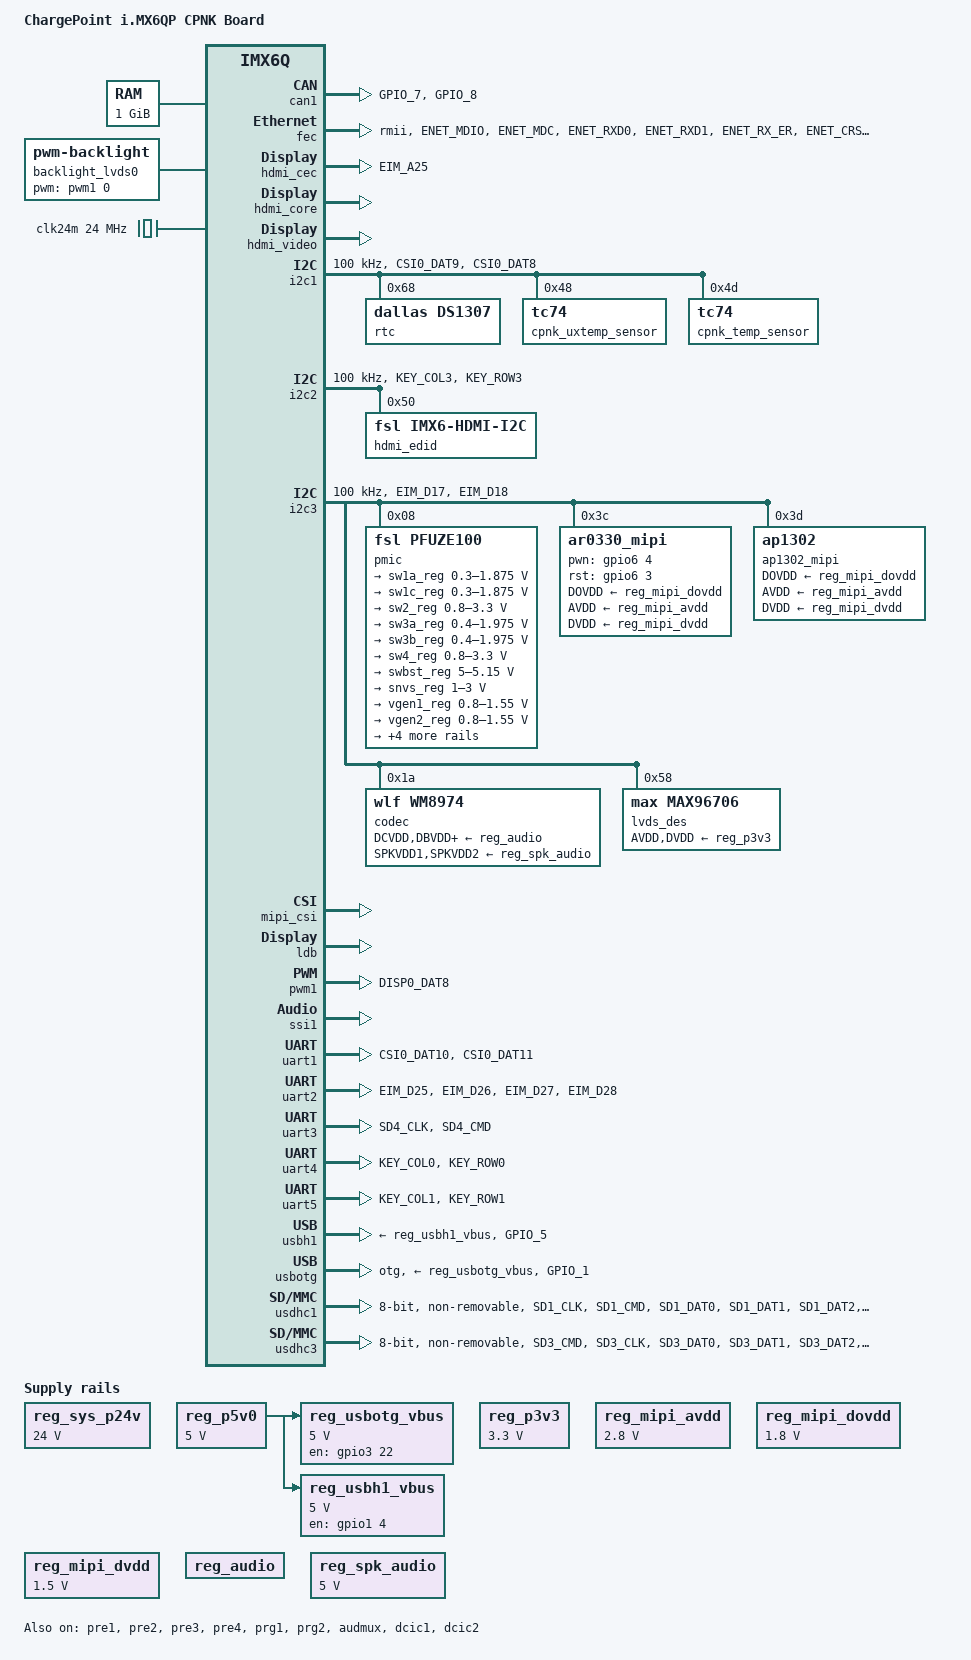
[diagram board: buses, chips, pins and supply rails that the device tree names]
/*
 * Copyright 2020 ChargePoint, Inc.
 * Copyright 2013 Boundary Devices
 * Copyright 2012 Freescale Semiconductor, Inc.
 * Copyright 2011 Linaro Ltd.
 *
 * The code contained herein is licensed under the GNU General Public
 * License. You may obtain a copy of the GNU General Public License
 * Version 2 or later at the following locations:
 *
 * http://www.opensource.org/licenses/gpl-license.html
 * http://www.gnu.org/copyleft/gpl.html
 */
/*
 * XXX - THIS NEEDS TO BE AUDITED - XXX
 *
 * At the time of this comment, this device-tree was changed to just
 * make a boot happen
 */


/dts-v1/;

#include <dt-bindings/gpio/gpio.h>
#include <dt-bindings/input/input.h>
#include "imx6q.dtsi"
#include "imx6qp.dtsi"

#if defined(CONFIG_NOT_UUU_BUILD)
#include "chargepoint-pubkey.dtsi"
#endif

/ {
	model = "ChargePoint i.MX6QP CPNK Board";
	compatible = "fsl,imx6qp-chargepoint-cpnk", "fsl,imx6q";

	aliases {
		fb_hdmi = &fb_hdmi;
		fb_lvds = &fb_lvds;
		ldb = &ldb;
		mmc0 = &usdhc3;
		mxcfb0 = &fb_lvds;
		mxcfb1 = &fb_hdmi;
	};

	chosen {
		stdout-path = &uart1;
	};

	memory: memory {
		reg = <0x10000000 0x40000000>;
	};

	backlight_lvds0 {
		compatible = "pwm-backlight";
		pinctrl-names = "default";
		brightness-levels = <0 1 2 3 4 5 6 7 8 9 10 11 12 13 14 15 16 17 18 19 20 21 22 23 24 25 26 27 28 29 30 \
			      31 32 33 34 35 36 37 38 39 40 41 42 43 44 45 46 47 48 49 50 51 52 53 54 55 56 57 58 59 60 \
			      61 62 63 64 65 66 67 68 69 70 71 72 73 74 75 76 77 78 79 80 81 82 83 84 85 86 87 88 89 80 \
			      91 92 93 94 95 96 97 98 99 100>;
		default-brightness-level = <100>;
		display = <&fb_lvds>;
		pwms = <&pwm1 0 5000000>;
		status = "okay";
	};

	clocks {
		clk24m: clk24m {
			compatible = "fixed-clock";
			#clock-cells = <0>;
			clock-frequency = <24000000>;
		};
	};

	sound {
		compatible = "fsl,imx6q-sabresd-wm8974",
		"fsl,imx-audio-wm8974";
		model = "wm8974-audio";
		cpu-dai = <&ssi1>;
		audio-codec = <&codec>;
		audio-routing =
			  "Ext Spk", "MONOOUT",
			  "Mic Jack", "Mic Bias",
			  "Headphone Jack", "MONOOUT";
		mux-int-port = <1>;
		mux-ext-port = <4>;
		status = "okay";
	};

	sound-hdmi {
		compatible = "fsl,imx6q-audio-hdmi",
			     "fsl,imx-audio-hdmi";
		model = "imx-audio-hdmi";
		hdmi-controller = <&hdmi_audio>;
	};

	fb_lvds: fb@0 {
		compatible = "fsl,mxc_sdc_fb";
		disp_dev = "ldb";
		interface_pix_fmt = "RGB24";
		default_bpp = <32>;
		int_clk = <0>;
		late_init = <0>;
		status = "disabled";
	};

	fb_hdmi: fb@1 {
		compatible = "fsl,mxc_sdc_fb";
		disp_dev = "hdmi";
		interface_pix_fmt = "RGB24";
		mode_str ="1920x1080M@60";
		default_bpp = <32>;
		int_clk = <0>;
		late_init = <0>;
		status = "disabled";
	};

	regulators {
		compatible = "simple-bus";
		#address-cells = <1>;
		#size-cells = <0>;

		reg_sys_p24v: regulator-system-p24v {
			compatible = "regulator-fixed";
			regulator-name = "P24V";
			regulator-min-microvolt = <24000000>;
			regulator-max-microvolt = <24000000>;
			regulator-always-on;
		};

		reg_p5v0: regulator-p5v0 {
			compatible = "regulator-fixed";
			regulator-name = "P5V0";
			regulator-min-microvolt = <5000000>;
			regulator-max-microvolt = <5000000>;
			regulator-always-on;
		};

		reg_p3v3: regulator-p3v3 {
			compatible = "regulator-fixed";
			regulator-name = "P3V3";
			regulator-min-microvolt = <3300000>;
			regulator-max-microvolt = <3300000>;
			regulator-always-on;
		};

		reg_usbotg_vbus: regulator-usbotg-vbus {
			compatible = "regulator-fixed";
			regulator-name = "usb_otg_vbus";
			regulator-min-microvolt = <5000000>;
			regulator-max-microvolt = <5000000>;
			gpio = <&gpio3 22 GPIO_ACTIVE_HIGH>;
			enable-active-high;
			regulator-always-on;
			vin-supply = <&reg_p5v0>;
		};

		reg_usbh1_vbus: regulator-usbh1-vbus {
			compatible = "regulator-fixed";
			pinctrl-names = "default";
			pinctrl-0 = <&pinctrl_reg_usbh1_vbus>;
			regulator-name = "usb_h1_vbus";
			regulator-min-microvolt = <5000000>;
			regulator-max-microvolt = <5000000>;
			gpio = <&gpio1 4 GPIO_ACTIVE_HIGH>;
			enable-active-high;
			regulator-always-on;
			vin-supply = <&reg_p5v0>;
		};

		reg_mipi_avdd: regulator-mipi-avdd {
			 compatible = "regulator-fixed";
			 regulator-name = "mipi_avdd";
			 regulator-min-microvolt = <2800000>;
			 regulator-max-microvolt = <2800000>;
			 regulator-always-on;
		};

		reg_mipi_dovdd: regulator-mipi-dovdd {
			 compatible = "regulator-fixed";
			 regulator-name = "mipi_dovdd";
			 regulator-min-microvolt = <1800000>;
			 regulator-max-microvolt = <1800000>;
			 regulator-always-on;
		};

		reg_mipi_dvdd: regulator-mipi-dvdd {
			 compatible = "regulator-fixed";
			 regulator-name = "mipi_dvdd";
			 regulator-min-microvolt = <1500000>;
			 regulator-max-microvolt = <1500000>;
			 regulator-always-on;
		};

		reg_audio: regulator-audio {
			compatible = "regulator-fixed";
			regulator-name = "wm8974-supply";
			regulator-always-on;
		};
		reg_spk_audio: regulator-speaker-audio {
			compatible = "regulator-fixed";
			regulator-name = "wm8974-spk-supply";
			regulator-min-microvolt = <5000000>;
			regulator-max-microvolt = <5000000>;
			/*gpio = <&gpio4 25 0>;*/
			enable-active-high;
			regulator-always-on;
		};
	};

	v4l2_cap_0 {
		compatible = "fsl,imx6q-v4l2-capture";
		ipu_id = <0>;
		csi_id = <0>;
		mclk_source = <0>;
		status = "okay";
	};

	v4l2_cap_1: v4l2_cap_1 {
		compatible = "fsl,imx6q-v4l2-capture";
		ipu_id = <0>;
		csi_id = <1>;
		mipi_camera = <1>;
		mclk_source = <0>;
		status = "okay";
	};

	v4l2_cap_2: v4l2_cap_2 {
		compatible = "fsl,imx6q-v4l2-capture";
		ipu_id = <1>;
		csi_id = <0>;
		mipi_camera = <1>;
		mclk_source = <0>;
		status = "okay";
	};

	v4l2_out {
		compatible = "fsl,mxc_v4l2_output";
		status = "okay";
	};

	reserved-memory {
		linux,cma {
			size = <0x1A000000>;
		};
	};
};

&fb_hdmi {
	prefetch;
	status = "okay";
};

&fb_lvds {
	prefetch;
	status = "okay";
};

&pre1 {
	status = "okay";
};

&pre2 {
	status = "okay";
};

&pre3 {
	status = "okay";
};

&pre4 {
	status = "okay";
};

&prg1 {
	memory-region = <&memory>;
	status = "okay";
};

&prg2 {
	memory-region = <&memory>;
	status = "okay";
};

&iomuxc {
	pinctrl-names = "default";
	pinctrl-0 = <&pinctrl_hog>;
	iomuxc_imx6q_cpnk: iomuxc-imx6q-cpnk-grp {
		status = "okay";
	};
};

&iomuxc_imx6q_cpnk {
	pinctrl_hog: hoggrp {
		fsl,pins = <
		  MX6QDL_PAD_SD2_DAT2__GPIO1_IO13 0x1b0b0 /* LG CHG_ENABLE */
		  /*MX6QDL_PAD_KEY_COL0__GPIO4_IO06 0x1b0b0*/ /* NFC_IRQ(RFID) */
		  /*MX6QDL_PAD_KEY_ROW0__GPIO4_IO07 0x130b0*/ /* RFID Reset, pull-down */
		  MX6QDL_PAD_KEY_COL4__GPIO4_IO14 0x130b0 /* UX 5V enable, pull-down */
		  MX6QDL_PAD_KEY_ROW2__GPIO4_IO11 0x130b0 /* UX_GPIO2, pull-down */
		  MX6QDL_PAD_KEY_COL2__GPIO4_IO10 0x130b0 /* GestIC reset, pull-down */
		  MX6QDL_PAD_EIM_D23__GPIO3_IO23 0x1b0b0 /* MOD_PWREN */
		  MX6QDL_PAD_EIM_D24__GPIO3_IO24 0x1b0b0 /* MOD_RESETn */
		  MX6QDL_PAD_GPIO_18__GPIO7_IO13 0x1b0b0 /* MOD_IGTn */
		  MX6QDL_PAD_GPIO_19__GPIO4_IO05 0x1b0b0 /* MOD_PWRIND */
		  MX6QDL_PAD_DISP0_DAT4__GPIO4_IO25 0x1b0b0 /* SPK_PWREN */
		  MX6QDL_PAD_NANDF_D0__GPIO2_IO00 0x1b0b0 /* DBG LED90 */
		  MX6QDL_PAD_NANDF_D1__GPIO2_IO01 0x1b0b0 /* DBG LED91 */
		  MX6QDL_PAD_NANDF_D2__GPIO2_IO02 0x1b0b0 /* DBG LED92 */
		  MX6QDL_PAD_NANDF_D3__GPIO2_IO03 0x1b0b0 /* DBG LED93 */
		  MX6QDL_PAD_EIM_D19__GPIO3_IO19 0x1b0b0 /* WIFI_PWREN */
		  MX6QDL_PAD_EIM_D20__GPIO3_IO20 0x1b0b0 /* WIFI RESET */
		  /*MX6QDL_PAD_CSI0_DAT6__GPIO5_IO24 0x1b0b0*/ /* CAM_RESET_n */
		  /*MX6QDL_PAD_CSI0_DAT7__GPIO5_IO25 0x1b0b0*/ /* CAM_PWDN_n */
		  MX6QDL_PAD_DISP0_DAT0__GPIO4_IO21 0x1b0b0  /* LCD PWREN */
		  MX6QDL_PAD_DISP0_DAT1__GPIO4_IO22 0x1b0b0  /* LCD_REV_SCAN */
		  MX6QDL_PAD_DISP0_DAT2__GPIO4_IO23 0x1b0b0  /* LCD_SEL_6o8 */
		  MX6QDL_PAD_DISP0_DAT9__GPIO4_IO30 0x1b0b0  /* LVSS_3V_PWREN */
		  MX6QDL_PAD_DISP0_DAT3__GPIO4_IO24 0x1b0b0 /* Ultrasonic sensor PWREN */
		  MX6QDL_PAD_DISP0_DAT18__GPIO5_IO12 0x1b0b0 /* I2C PMIC ENABLE */
		  MX6QDL_PAD_GPIO_6__GPIO1_IO06  0x1b0b0 /* SERIAL_CAN_PWR_ENABLE */
		>;
	};

	pinctrl_audmux: audmuxgrp {
		fsl,pins = <
			MX6QDL_PAD_DISP0_DAT23__AUD4_RXD	  0x130b0
			MX6QDL_PAD_DISP0_DAT20__AUD4_TXC	  0x130b0
			MX6QDL_PAD_DISP0_DAT21__AUD4_TXD	  0x110b0
			MX6QDL_PAD_DISP0_DAT22__AUD4_TXFS	 0x130b0
			MX6QDL_PAD_GPIO_0__CCM_CLKO1    0x130b0 /* Audio MCLK */
		>;
	};

	pinctrl_enet: enetgrp {
		fsl,pins = <
			MX6QDL_PAD_ENET_MDIO__ENET_MDIO		0x1b0a8
			MX6QDL_PAD_ENET_MDC__ENET_MDC		0x1b0a8
			MX6QDL_PAD_ENET_RXD0__ENET_RX_DATA0	0x1b0a8
			MX6QDL_PAD_ENET_RXD1__ENET_RX_DATA1	0x1b0a8
			MX6QDL_PAD_ENET_RX_ER__ENET_RX_ER	0x1b0a8
			MX6QDL_PAD_ENET_CRS_DV__ENET_RX_EN      0x1b0a8
			MX6QDL_PAD_ENET_TXD0__ENET_TX_DATA0	0x1b0a8
			MX6QDL_PAD_ENET_TXD1__ENET_TX_DATA1	0x1b0a8
			MX6QDL_PAD_ENET_TX_EN__ENET_TX_EN       0x1b0a8
			MX6QDL_PAD_RGMII_TX_CTL__ENET_REF_CLK   0x4001b0a1
#define GPIO_ENETPHY_RESET	<&gpio1 23 GPIO_ACTIVE_HIGH>
			MX6QDL_PAD_ENET_REF_CLK__GPIO1_IO23	0x1b0b0
#define GPIO_ENET_INT	<&gpio1 3 IRQ_TYPE_LEVEL_HIGH>
			MX6QDL_PAD_GPIO_3__GPIO1_IO03	 0x1b0b0
#define GPIO_REMOTE_RST <&gpio4 15 IRQ_TYPE_LEVEL_HIGH>
			MX6QDL_PAD_KEY_ROW4__GPIO4_IO15	 0x1b0b0
		>;
	};

	pinctrl_flexcan1: flexcan1grp {
		fsl,pins = <
			MX6QDL_PAD_GPIO_7__FLEXCAN1_TX	0x1b0b0
			MX6QDL_PAD_GPIO_8__FLEXCAN1_RX	0x1b0b0
		>;
	};

	pinctrl_hdmi_cec: hdmi-cecgrp {
		fsl,pins = <
			MX6QDL_PAD_EIM_A25__HDMI_TX_CEC_LINE    0x1f8b0
		>;
	};

	pinctrl_i2c1: i2c1grp {
		fsl,pins = <
			MX6QDL_PAD_CSI0_DAT9__I2C1_SCL	    0x4001b8b1
			MX6QDL_PAD_CSI0_DAT8__I2C1_SDA	    0x4001b8b1
		>;
	};

	pinctrl_i2c2: i2c2grp {
		fsl,pins = <
			MX6QDL_PAD_KEY_COL3__I2C2_SCL	   0x4001b8b1
			MX6QDL_PAD_KEY_ROW3__I2C2_SDA	   0x4001b8b1
		>;
	};

	pinctrl_i2c3: i2c3grp {
		fsl,pins = <
			MX6QDL_PAD_EIM_D17__I2C3_SCL	     0x4001b8b1
			MX6QDL_PAD_EIM_D18__I2C3_SDA	    0x4001b8b1
		>;
	};

	pinctrl_pwm1: pwm1grp {
		fsl,pins = <
			MX6QDL_PAD_DISP0_DAT8__PWM1_OUT	 0x1b0b0
		>;
	};

	pinctrl_reg_usbh1_vbus: reg-usbh1-vbusgrp {
		fsl,pins = <
			MX6QDL_PAD_GPIO_4__GPIO1_IO04	   0x1b0b0
		>;
	};

	pinctrl_uart1: uart1grp { /* DBG Console */
		fsl,pins = <
			MX6QDL_PAD_CSI0_DAT10__UART1_TX_DATA    0x1b0b1
			MX6QDL_PAD_CSI0_DAT11__UART1_RX_DATA    0x1b0b1
		>;
	};

	pinctrl_uart2: uart2grp {
		fsl,pins = <
			MX6QDL_PAD_EIM_D25__GPIO3_IO25	  0x1b0b1
#define GPIO_RS485_TX_EN <&gpio3 25 GPIO_ACTIVE_HIGH>
			MX6QDL_PAD_EIM_D26__UART2_TX_DATA       0x1b0b1
			MX6QDL_PAD_EIM_D27__UART2_RX_DATA       0x1b0b1
			MX6QDL_PAD_EIM_D28__GPIO3_IO28	  0x1b0b1
#define GPIO_RS485_RX_EN <&gpio3 28 GPIO_ACTIVE_HIGH>
		>;
	};

	pinctrl_uart3: uart3grp { /* Ultrasonic Sensor 1 */
		fsl,pins = <
			MX6QDL_PAD_SD4_CLK__UART3_RX_DATA    0x1b0b1
			MX6QDL_PAD_SD4_CMD__UART3_TX_DATA    0x1b0b1
		>;
	};

	pinctrl_uart4: uart4grp { /* RFID Serial port */
		fsl,pins = <
			MX6QDL_PAD_KEY_COL0__UART4_TX_DATA 0x1b0b1 /* UART4_TX */
			MX6QDL_PAD_KEY_ROW0__UART4_RX_DATA 0x1b0b1 /* UART4_RX */
		>;
	};

	pinctrl_uart5: uart5grp { /* Ultrasonic Sensor 2 */
		fsl,pins = <
			MX6QDL_PAD_KEY_COL1__UART5_TX_DATA    0x1b0b1
			MX6QDL_PAD_KEY_ROW1__UART5_RX_DATA    0x1b0b1
		>;
	};

	pinctrl_usbh1: usbh1grp {
		fsl,pins = <
#define GPIO_USBH1_HUB_RESET      <&gpio1 5 GPIO_ACTIVE_LOW>
			MX6QDL_PAD_GPIO_5__GPIO1_IO05	   0x030b0
		>;
	};
	pinctrl_usbotg: usbotggrp {
		fsl,pins = <
			MX6QDL_PAD_GPIO_1__USB_OTG_ID		0x17059
		>;
	};

	pinctrl_usdhc1: usdhc1grp { /* SDHC1 --> WLAN */
		fsl,pins = <
			MX6QDL_PAD_SD1_CLK__SD1_CLK	     0x10059
			MX6QDL_PAD_SD1_CMD__SD1_CMD	     0x17059
			MX6QDL_PAD_SD1_DAT0__SD1_DATA0	  0x17059
			MX6QDL_PAD_SD1_DAT1__SD1_DATA1	  0x17059
			MX6QDL_PAD_SD1_DAT2__SD1_DATA2	  0x17059
			MX6QDL_PAD_SD1_DAT3__SD1_DATA3	  0x17059
		>;
	};

	pinctrl_usdhc3: usdhc3grp {
		fsl,pins = <
			MX6QDL_PAD_SD3_CMD__SD3_CMD	     0x17059
			MX6QDL_PAD_SD3_CLK__SD3_CLK	     0x10059
			MX6QDL_PAD_SD3_DAT0__SD3_DATA0	  0x17059
			MX6QDL_PAD_SD3_DAT1__SD3_DATA1	  0x17059
			MX6QDL_PAD_SD3_DAT2__SD3_DATA2	  0x17059
			MX6QDL_PAD_SD3_DAT3__SD3_DATA3	  0x17059
			MX6QDL_PAD_SD3_DAT4__SD3_DATA4	  0x17059
			MX6QDL_PAD_SD3_DAT5__SD3_DATA5	  0x17059
			MX6QDL_PAD_SD3_DAT6__SD3_DATA6	  0x17059
			MX6QDL_PAD_SD3_DAT7__SD3_DATA7	  0x17059
			MX6QDL_PAD_SD3_RST__SD3_RESET	   0x17059
		>;
	};

	pinctrl_i2c3_ap1302_mipi: i2c3_ap1302-mipigrp {
		fsl,pins = <
#define GP_AP1302_MIPI_POWER_DOWN	<&gpio5 25 GPIO_ACTIVE_HIGH>
			MX6QDL_PAD_CSI0_DAT7__GPIO5_IO25		0x1b0b0
#define GP_AP1302_MIPI_RESET	<&gpio5 24 GPIO_ACTIVE_LOW>
			MX6QDL_PAD_CSI0_DAT6__GPIO5_IO24		0x1b0b0
		>;
	};

		/* IPU1 is unit 0. IPU2 is unit 1. */
	pinctrl_i2c3_ap1302_parallel: i2c3-ap1302-parallelgrp {
		fsl,pins = <
			MX6QDL_PAD_CSI0_DAT12__IPU1_CSI0_DATA12		0x1b0b0
			MX6QDL_PAD_CSI0_DAT13__IPU1_CSI0_DATA13		0x1b0b0
			MX6QDL_PAD_CSI0_DAT14__IPU1_CSI0_DATA14		0x1b0b0
			MX6QDL_PAD_CSI0_DAT15__IPU1_CSI0_DATA15		0x1b0b0
			MX6QDL_PAD_CSI0_DAT16__IPU1_CSI0_DATA16		0x1b0b0
			MX6QDL_PAD_CSI0_DAT17__IPU1_CSI0_DATA17		0x1b0b0
			MX6QDL_PAD_CSI0_DAT18__IPU1_CSI0_DATA18		0x1b0b0
			MX6QDL_PAD_CSI0_DAT19__IPU1_CSI0_DATA19		0x1b0b0
			MX6QDL_PAD_CSI0_PIXCLK__IPU1_CSI0_PIXCLK	0x1b0b0
			MX6QDL_PAD_CSI0_MCLK__IPU1_CSI0_HSYNC		0x1b0b0
			MX6QDL_PAD_CSI0_VSYNC__IPU1_CSI0_VSYNC		0x1b0b0
		>;
	};

	pinctrl_i2c3_max96706_gpios: i2c3-max96706-gpiogrp {
		fsl,pins = <
#define GP_MAX96706_POWER_DOWN	<&gpio5 20 GPIO_ACTIVE_LOW>
			MX6QDL_PAD_CSI0_DATA_EN__GPIO5_IO20		0x1b0b0
		>;
	};

	pinctrl_i2c3_ap1302_parallel_gpios: i2c3-ap1302-parallel-gpiogrp {
		fsl,pins = <
#define GP_AP1302_PARALLEL_RESET	<&gpio7 12 GPIO_ACTIVE_HIGH>
			MX6QDL_PAD_GPIO_17__GPIO7_IO12		0x1b0b0
		>;
	};

};

/* disable dvfs as it appears to be causing linux hang after boot */
&busfreq {
	status = "disabled";
};

&audmux {
	pinctrl-names = "default";
	pinctrl-0 = <&pinctrl_audmux>;
	status = "okay";
};


&clks {
	fsl,ldb-di0-parent = <&clks IMX6QDL_CLK_PLL2_PFD0_352M>;
	fsl,ldb-di1-parent = <&clks IMX6QDL_CLK_PLL2_PFD0_352M>;

};

&can1 {
	pinctrl-names = "default";
	pinctrl-0 = <&pinctrl_flexcan1>;
	status = "okay";
};

&fec {
	pinctrl-names = "default";
	pinctrl-0 = <&pinctrl_enet>;
	phy-mode = "rmii";
	phy-reset-gpios = GPIO_ENETPHY_RESET;
	phy-reset-duration = <2>;
	assigned-clocks = <&clks IMX6QDL_CLK_ENET_REF>;
	assigned-clock-rates = <50000000>;
	status = "okay";
};

&gpc {
	/* use ldo-enable, u-boot will check it and configure */
	fsl,ldo-bypass = <1>;
};

&dcic1 {
	dcic_id = <0>;
	dcic_mux = "dcic-hdmi";
	status = "okay";
};

&dcic2 {
	dcic_id = <1>;
	dcic_mux = "dcic-lvds1";
	status = "okay";
};

/*
&hdmi_audio {
	status = "okay";
};*/

&hdmi_cec {
	pinctrl-names = "default";
	pinctrl-0 = <&pinctrl_hdmi_cec>;
	status = "okay";
};

&hdmi_core {
	ipu_id = <0>;
	disp_id = <0>;
	status = "okay";
};

&hdmi_video {
	fsl,phy_reg_vlev = <0x0294>;
	fsl,phy_reg_cksymtx = <0x800d>;
	status = "okay";
};

&i2c1 {
	clock-frequency = <100000>;
	pinctrl-names = "default";
	pinctrl-0 = <&pinctrl_i2c1>;
	status = "okay";

	rtc: ds1307@68 { /* CPNK RTC */
		compatible = "dallas,ds1307";
		pinctrl-names = "default";
		reg = <0x68>;
	};

	cpnk_uxtemp_sensor: tc74@48 {
		compatible = "tc74";
		reg = <0x48>;
	};

	cpnk_temp_sensor: tc74@4d {
		compatible = "tc74";
		reg = <0x4d>;
	};
};

&i2c2 {
	clock-frequency = <100000>;
	pinctrl-names = "default";
	pinctrl-0 = <&pinctrl_i2c2>;
	status = "okay";

	hdmi_edid: edid@50 {
		compatible = "fsl,imx6-hdmi-i2c";
		reg = <0x50>;
	};
};

&i2c3 {
	clock-frequency = <100000>;
	pinctrl-names = "default";
	pinctrl-0 = <&pinctrl_i2c3>;
	status = "okay";

	pmic: pfuze100@08 {
		compatible = "fsl,pfuze100";
		reg = <0x08>;

		regulators {
			sw1a_reg: sw1ab {
				regulator-min-microvolt = <300000>;
				regulator-max-microvolt = <1875000>;
				regulator-boot-on;
				regulator-always-on;
				regulator-ramp-delay = <6250>;
			};

			sw1c_reg: sw1c {
				regulator-min-microvolt = <300000>;
				regulator-max-microvolt = <1875000>;
				regulator-boot-on;
				regulator-always-on;
				regulator-ramp-delay = <6250>;
			};

			sw2_reg: sw2 {
				regulator-min-microvolt = <800000>;
				regulator-max-microvolt = <3300000>;
				regulator-boot-on;
				regulator-always-on;
				regulator-ramp-delay = <6250>;
			};

			sw3a_reg: sw3a {
				regulator-min-microvolt = <400000>;
				regulator-max-microvolt = <1975000>;
				regulator-boot-on;
				regulator-always-on;
			};

			sw3b_reg: sw3b {
				regulator-min-microvolt = <400000>;
				regulator-max-microvolt = <1975000>;
				regulator-boot-on;
				regulator-always-on;
			};

			sw4_reg: sw4 {
				regulator-min-microvolt = <800000>;
				regulator-max-microvolt = <3300000>;
			};

			swbst_reg: swbst {
				regulator-min-microvolt = <5000000>;
				regulator-max-microvolt = <5150000>;
			};

			snvs_reg: vsnvs {
				regulator-min-microvolt = <1000000>;
				regulator-max-microvolt = <3000000>;
			};

			vref_reg: vrefddr {
				regulator-boot-on;
				regulator-always-on;
			};

			vgen1_reg: vgen1 {
				regulator-min-microvolt = <800000>;
				regulator-max-microvolt = <1550000>;
			};

			vgen2_reg: vgen2 {
				regulator-min-microvolt = <800000>;
				regulator-max-microvolt = <1550000>;
			};

			vgen3_reg: vgen3 {
				regulator-min-microvolt = <1800000>;
				regulator-max-microvolt = <3300000>;
			};

			vgen4_reg: vgen4 {
				regulator-min-microvolt = <1800000>;
				regulator-max-microvolt = <3300000>;
				regulator-always-on;
			};

			vgen5_reg: vgen5 {
				regulator-min-microvolt = <1800000>;
				regulator-max-microvolt = <3300000>;
				regulator-always-on;
			};

			vgen6_reg: vgen6 {
				regulator-min-microvolt = <1800000>;
				regulator-max-microvolt = <3300000>;
				regulator-always-on;
			};
		};
	};

	ar0330_mipi: ar0330_mipi@3C {
		compatible = "ar0330_mipi";
		reg = <0x3C>;
		clocks = <&clks 201>;
		clock-names = "csi_mclk";
		DOVDD-supply = <&reg_mipi_dovdd>; /* 1.8v */
		AVDD-supply = <&reg_mipi_avdd>;  /* 2.8v, rev C board is VGEN3
						rev B board is VGEN5 */
		DVDD-supply = <&reg_mipi_dvdd>;  /* 1.5v*/
		pwn-gpios = <&gpio6 4 0>;   /* active high: DISP_DATA11 */
		rst-gpios = <&gpio6 3 0>;   /* active low: DISP_DATA10 */
		ipu_id = <0>;
		csi_id = <1>;
		vc = <1>;
		mclk = <24000000>;
		mclk_source = <0>;
		status="okay";
	};

	ap1302_mipi: ap1302_mipi@3D {
		compatible = "ap1302";
		reg = <0x3D>;
		pinctrl-names = "default";
		pinctrl-0 = <&pinctrl_i2c3_ap1302_mipi>;
		clocks = <&clks IMX6QDL_CLK_CKO>;
		clock-names = "csi_mclk";
		DOVDD-supply = <&reg_mipi_dovdd>;
		AVDD-supply = <&reg_mipi_avdd>;
		DVDD-supply = <&reg_mipi_dvdd>;
		pwn-gpios = GP_AP1302_MIPI_POWER_DOWN;
		rst-gpios = GP_AP1302_MIPI_RESET;
		ipu_id = <1>;
		csi_id = <0>;
		mclk = <24000000>;
		mclk_source = <0>;
		status="okay";
	};

	codec: wm8974@1a {
		compatible = "wlf,wm8974";
		reg = <0x1a>;
		clocks = <&clks IMX6QDL_CLK_CKO>;
		clock-names = "mclk";
		wlf,shared-lrclk;
		DCVDD-supply = <&reg_audio>;
		DBVDD-supply = <&reg_audio>;
		AVDD-supply = <&reg_audio>;
		CPVDD-supply = <&reg_audio>;
		PLLVDD-supply = <&reg_audio>;
		SPKVDD1-supply = <&reg_spk_audio>;
		SPKVDD2-supply = <&reg_spk_audio>;
		amic-mono;
	};

	/* The deserializer is also an i2c adapter */
	lvds_des: deserializer@58 {
		#address-cells = <1>;
		#size-cells = <0>;
		compatible = "max,max96706";
		reg = <0x58>;
		pinctrl-names = "default";
		pinctrl-0 = <&pinctrl_i2c3_max96706_gpios>;
		AVDD-supply = <&reg_p3v3>;  /* locally converted to 1.8v */
		DVDD-supply = <&reg_p3v3>;  /* locally converted to 1.8v */
		pwn-gpios = GP_MAX96706_POWER_DOWN;
	};

};

/* Below describes devices that are remote devices of the deserializer */
&lvds_des {

	ranges;

	lvds_ser: serializer@40 {
		compatible = "max,max96707";
		reg = <0x40>;
	};

	ap1302_parallel: ap1302_parallel@3C {
		compatible = "ap1302_parallel";
		reg = <0x3C>;
		pinctrl-names = "default";
		pinctrl-0 = <&pinctrl_i2c3_ap1302_parallel>;
		clocks = <&clks IMX6QDL_CLK_CKO>;
		clock-names = "csi_mclk";
		/*DOVDD-supply = <&reg_1p8v>;*/
		/*AVDD-supply = <&reg_2p5v>;*/
		/*DVDD-supply = <&reg_1p8v>;*/
		/* This really is the mipi parallel converter reset pin */
		/* ap1302 power and reset pin are controlled by converter's local gpio */
		rst-gpios = GP_AP1302_PARALLEL_RESET;
		ipu_id = <0>;
		csi_id = <0>;
		mclk = <24000000>;
		mclk_source = <0>;
	};
};

&mipi_csi {
	 status = "okay";
	 ipu_id = <1>;
	 csi_id = <0>;
	 v_channel = <2>;
	 lanes = <3>;
};


&ldb {
	status = "okay";

	lvds-channel@0 {
		crtc = "ipu2-di0";
		fsl,data-mapping = "spwg";
		fsl,data-width = <24>;
		status = "okay";
		primary;

		/* Values need to be rework once display available */
		display-timings {
			native-mode = <&ampire>;
			ampire: AM-1024768Y2TZQW-A2H {
				clock-frequency = <65000000>;
				hactive = <1024>;
				vactive = <768>;
				hback-porch = <220>;
				hfront-porch = <40>;
				vback-porch = <21>;
				vfront-porch = <7>;
				hsync-len = <60>;
				vsync-len = <10>;
			};
			Kyocera: TCG104XGLPAPNN-AN40 {
				clock-frequency = <65000000>;
				hactive = <1024>;
				vactive = <768>;
				hback-porch = <220>;
				hfront-porch = <40>;
				vback-porch = <21>;
				vfront-porch = <7>;
				hsync-len = <60>;
				vsync-len = <10>;
			};
		};
	};
};

&pwm1 {
	pinctrl-names = "default";
	pinctrl-0 = <&pinctrl_pwm1>;
	status = "okay";
};

&reg_arm {
	vin-supply = <&sw2_reg>;
	regulator-allow-bypass;
};

&reg_soc {
	vin-supply = <&sw1c_reg>;
	regulator-allow-bypass;
};

&reg_pu {
	vin-supply = <&sw1c_reg>;
	regulator-allow-bypass;
};

/* XXX - unclear if this is doable or not */
&snvs_poweroff {
	status = "disabled";
};

&ssi1 {
	fsl,mode = "i2s-master";
	status = "okay";
};

&uart1 {
	pinctrl-names = "default";
	pinctrl-0 = <&pinctrl_uart1>;
	status = "okay";
};

&uart2 { /* RS485 meter */
	pinctrl-names = "default";
	pinctrl-0 = <&pinctrl_uart2>;
	control-gpios = GPIO_RS485_TX_EN, GPIO_RS485_RX_EN;
#define M_RX_EN		1
#define M_TX_EN		2
	off_levels = <0>;
	rxact_mask = <0>;
	rxact_levels = <0>;
	rs232_levels = <M_RX_EN>;
	rs232_txen_mask = <0>;
	rs232_txen_levels = <0>;
	rs485_levels = <0xd>;
	rs485_txen_mask = <0x3>;
	rs485_txen_levels = <M_TX_EN>;
	uart-has-rs485-half-duplex;
	rs485-mode = <1>;	/* 1 to enable */
	fsl,uart-has-rtscts;
	status = "okay";
};

&uart3 { /* Ultrasonic Sensor #1 */
	pinctrl-names = "default";
	pinctrl-0 = <&pinctrl_uart3>;
	status = "okay";
};

&uart4 { /* RFID Reader */
	pinctrl-names = "default";
	pinctrl-0 = <&pinctrl_uart4>;
	status = "okay";
};

&uart5 { /* Ultrasonic Sensor #2 */
	pinctrl-names = "default";
	pinctrl-0 = <&pinctrl_uart5>;
	status = "okay";
};

&usbh1 {
	vbus-supply = <&reg_usbh1_vbus>;
	pinctrl-names = "default";
	pinctrl-0 = <&pinctrl_usbh1>;
	disable-over-current;
	reset-gpios = GPIO_USBH1_HUB_RESET;
	status = "okay";
};

&usbotg {
	vbus-supply = <&reg_usbotg_vbus>;
	pinctrl-names = "default";
	pinctrl-0 = <&pinctrl_usbotg>;
	disable-over-current;
	dr_mode = "otg";
	status = "okay";
};

&usdhc1 {       /* uSDHC1, Redpine WiFi */
	pinctrl-names = "default";
	pinctrl-0 = <&pinctrl_usdhc1>;
	bus-width = <8>;
	no-1-8-v;
	non-removable;
	keep-power-in-suspend;
	enable-sdio-wakeup;
	max-frequency	= <33000000>;
	status = "okay";
};

&usdhc3 {       /* eMMC */
	pinctrl-names = "default";
	pinctrl-0 = <&pinctrl_usdhc3>;
	bus-width = <8>;
	non-removable;
	no-1-8-v;
	keep-power-in-suspend;
	status = "okay";
};
